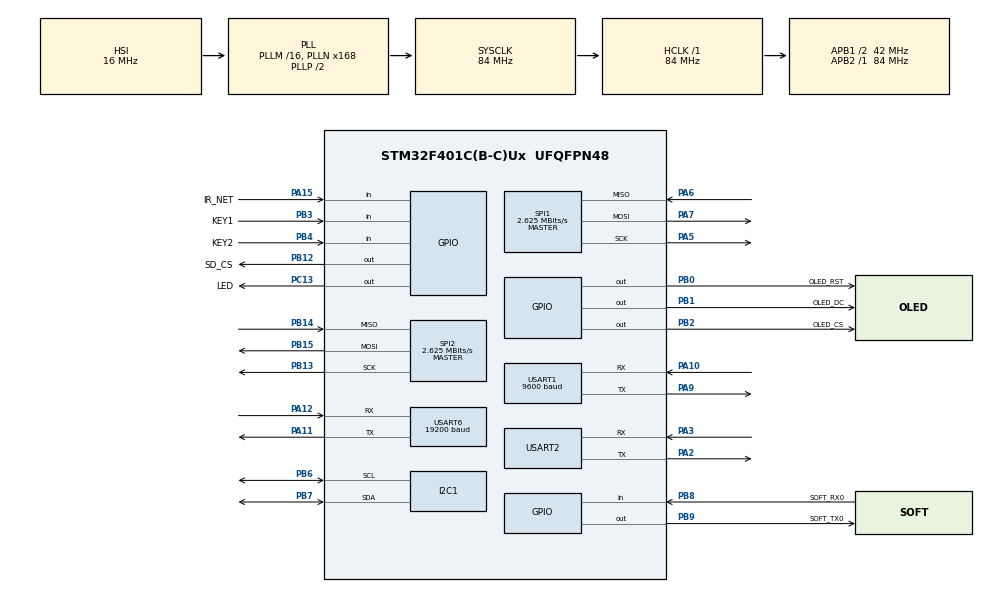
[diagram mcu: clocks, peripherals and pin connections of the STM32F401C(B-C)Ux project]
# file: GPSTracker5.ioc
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FATFS._MAX_SS=512
FREERTOS.HEAP_NUMBER=3
FREERTOS.MEMORY_ALLOCATION=0
FREERTOS.Tasks01=mainTask,-2,128,Main_TaskHandler,Default,NULL,Dynamic,NULL,NULL;displayTask,2,512,Display_TaskHandler,As external,NULL,Dynamic,NULL,NULL;sdTask,2,1024,SD_TaskHandler,As external,NULL,Dynamic,NULL,NULL;gpsTask,0,512,GPS_TaskHandler,As external,NULL,Dynamic,NULL,NULL;lteTask,0,1024,LTE_TaskHandler,As external,NULL,Dynamic,NULL,NULL;iridiumTask,0,1024,Iridium_TaskHandler,As external,NULL,Dynamic,NULL,NULL;keyTask,-2,512,Key_TaskHandler,As external,NULL,Dynamic,NULL,NULL;sensorTask,-2,512,Sensor_TaskHandler,As external,NULL,Dynamic,NULL,NULL
FREERTOS.configTOTAL_HEAP_SIZE=25600
FREERTOS.configUSE_NEWLIB_REENTRANT=1
IWDG.Prescaler=IWDG_PRESCALER_64
Mcu.Family=STM32F4
Mcu.Name=STM32F401C(B-C)Ux
Mcu.Package=UFQFPN48
NVIC.PriorityGroup=NVIC_PRIORITYGROUP_4
NVIC.TIM1_UP_TIM10_IRQn=true\:15\:0\:false\:false\:true\:false\:false\:true\:true
NVIC.TIM2_IRQn=true\:5\:0\:false\:false\:true\:false\:true\:true\:true
NVIC.TimeBase=TIM1_UP_TIM10_IRQn
NVIC.TimeBaseIP=TIM1
NVIC.USART1_IRQn=true\:5\:0\:false\:false\:true\:true\:true\:true\:true
NVIC.USART2_IRQn=true\:5\:0\:false\:false\:true\:true\:true\:true\:true
NVIC.USART6_IRQn=true\:5\:0\:false\:false\:true\:true\:true\:true\:true
PA10.Mode=Asynchronous
PA10.Signal=USART1_RX
PA11.Mode=Asynchronous
PA11.Signal=USART6_TX
PA12.Mode=Asynchronous
PA12.Signal=USART6_RX
PA13.Mode=Serial_Wire
PA13.Signal=SYS_JTMS-SWDIO
PA14.Mode=Serial_Wire
PA14.Signal=SYS_JTCK-SWCLK
PA15.GPIO_Label=IR_NET
PA15.Signal=GPIO_Input
PA2.Mode=Asynchronous
PA2.Signal=USART2_TX
PA3.Mode=Asynchronous
PA3.Signal=USART2_RX
PA5.Mode=Full_Duplex_Master
PA5.Signal=SPI1_SCK
PA6.Mode=Full_Duplex_Master
PA6.Signal=SPI1_MISO
PA7.Mode=Full_Duplex_Master
PA7.Signal=SPI1_MOSI
PA9.Mode=Asynchronous
PA9.Signal=USART1_TX
PB0.GPIO_Label=OLED_RST
PB0.Signal=GPIO_Output
PB1.GPIO_Label=OLED_DC
PB1.Signal=GPIO_Output
PB12.GPIO_Label=SD_CS
PB12.Signal=GPIO_Output
PB13.Mode=Full_Duplex_Master
PB13.Signal=SPI2_SCK
PB14.Mode=Full_Duplex_Master
PB14.Signal=SPI2_MISO
PB15.Mode=Full_Duplex_Master
PB15.Signal=SPI2_MOSI
PB2.GPIO_Label=OLED_CS
PB2.Signal=GPIO_Output
PB3.GPIO_Label=KEY1
PB3.Signal=GPIO_Input
PB4.GPIO_Label=KEY2
PB4.Signal=GPIO_Input
PB6.Mode=I2C
PB6.Signal=I2C1_SCL
PB7.Mode=I2C
PB7.Signal=I2C1_SDA
PB8.GPIO_Label=SOFT_RX0
PB8.Signal=GPIO_Input
PB9.GPIO_Label=SOFT_TX0
PB9.Signal=GPIO_Output
PC13-ANTI_TAMP.GPIO_Label=LED
PC13-ANTI_TAMP.Signal=GPIO_Output
PC14-OSC32_IN.Mode=LSE-External-Oscillator
PC14-OSC32_IN.Signal=RCC_OSC32_IN
PC15-OSC32_OUT.Mode=LSE-External-Oscillator
PC15-OSC32_OUT.Signal=RCC_OSC32_OUT
PH0\ -\ OSC_IN.Mode=HSE-External-Oscillator
PH0\ -\ OSC_IN.Signal=RCC_OSC_IN
PH1\ -\ OSC_OUT.Mode=HSE-External-Oscillator
PH1\ -\ OSC_OUT.Signal=RCC_OSC_OUT
ProjectManager.HeapSize=0x200
ProjectManager.StackSize=0x400
ProjectManager.TargetToolchain=STM32CubeIDE
RCC.48MHZClocksFreq_Value=42000000
RCC.AHBFreq_Value=84000000
RCC.APB1CLKDivider=RCC_HCLK_DIV2
RCC.APB1Freq_Value=42000000
RCC.APB1TimFreq_Value=84000000
RCC.APB2Freq_Value=84000000
RCC.APB2TimFreq_Value=84000000
RCC.CortexFreq_Value=84000000
RCC.HCLKFreq_Value=84000000
RCC.HSE_VALUE=25000000
RCC.HSI_VALUE=16000000
RCC.PLLN=168
RCC.SYSCLKFreq_VALUE=84000000
RCC.SYSCLKSource=RCC_SYSCLKSOURCE_PLLCLK
RCC.VCOOutputFreq_Value=168000000
SPI1.BaudRatePrescaler=SPI_BAUDRATEPRESCALER_32
SPI1.CalculateBaudRate=2.625 MBits/s
SPI1.Direction=SPI_DIRECTION_2LINES
SPI1.Mode=SPI_MODE_MASTER
SPI1.VirtualType=VM_MASTER
SPI2.BaudRatePrescaler=SPI_BAUDRATEPRESCALER_16
SPI2.CalculateBaudRate=2.625 MBits/s
SPI2.Direction=SPI_DIRECTION_2LINES
SPI2.Mode=SPI_MODE_MASTER
SPI2.VirtualType=VM_MASTER
TIM2.Period=9
TIM2.Prescaler=174
USART1.BaudRate=9600
USART1.VirtualMode=VM_ASYNC
USART2.VirtualMode=VM_ASYNC
USART6.BaudRate=19200
USART6.VirtualMode=VM_ASYNC
VP_FATFS_VS_Generic.Mode=User_defined
VP_FREERTOS_VS_CMSIS_V1.Mode=CMSIS_V1
VP_IWDG_VS_IWDG.Mode=IWDG_Activate
VP_SYS_VS_tim1.Mode=TIM1
VP_TIM2_VS_ClockSourceINT.Mode=Internal
board=custom

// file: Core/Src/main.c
/* USER CODE BEGIN Header */
/**
  ******************************************************************************
  * @file           : main.c
  * @brief          : Main program body
  ******************************************************************************
  * @attention
  *
  * Copyright (c) 2024 STMicroelectronics.
  * All rights reserved.
  *
  * This software is licensed under terms that can be found in the LICENSE file
  * in the root directory of this software component.
  * If no LICENSE file comes with this software, it is provided AS-IS.
  *
  ******************************************************************************
  */
/* USER CODE END Header */
#include "main.h"
#include "cmsis_os.h"
#include "fatfs.h"

/* USER CODE BEGIN Includes */

#include <stdio.h>
#include "debug.h"
#include "softuart.h"
#include "ssd1306.h"
#include "ssd1306_fonts.h"
#include "i2c.h"
#include "display.h"
#include "gps.h"
#include "lte.h"
#include "iridium.h"
#include "report.h"

/* USER CODE END Includes */

I2C_HandleTypeDef hi2c1;

IWDG_HandleTypeDef hiwdg;

SPI_HandleTypeDef hspi1;
SPI_HandleTypeDef hspi2;

TIM_HandleTypeDef htim2;

UART_HandleTypeDef huart1;
UART_HandleTypeDef huart2;
UART_HandleTypeDef huart6;

osThreadId mainTaskHandle;
osThreadId displayTaskHandle;
osThreadId sdTaskHandle;
osThreadId gpsTaskHandle;
osThreadId lteTaskHandle;
osThreadId iridiumTaskHandle;
osThreadId keyTaskHandle;
osThreadId sensorTaskHandle;
/* USER CODE BEGIN PV */
extern QueueHandle_t sdQueue;
extern QueueHandle_t lteQueue;
extern QueueHandle_t iridiumQueue;
int lteCounter = 0;
int iridiumCounter = 3600 - 60 * 15; // 15 minutes to first Iridium beacon
/* USER CODE END PV */

void SystemClock_Config(void);
static void MX_GPIO_Init(void);
static void MX_I2C1_Init(void);
static void MX_SPI1_Init(void);
static void MX_SPI2_Init(void);
static void MX_USART1_UART_Init(void);
static void MX_USART2_UART_Init(void);
static void MX_USART6_UART_Init(void);
static void MX_TIM2_Init(void);
static void MX_IWDG_Init(void);
void Main_TaskHandler(void const * argument);
extern void Display_TaskHandler(void const * argument);
extern void SD_TaskHandler(void const * argument);
extern void GPS_TaskHandler(void const * argument);
extern void LTE_TaskHandler(void const * argument);
extern void Iridium_TaskHandler(void const * argument);
extern void Key_TaskHandler(void const * argument);
extern void Sensor_TaskHandler(void const * argument);

/* USER CODE BEGIN 0 */

/*
 * Override _write to forward stdout to SoftUart0
 */
int _write(int file, char *ptr, int len)
{
	int left = len;
	while (left > 0) {
		if (left > SoftUartTxBufferSize) {
			SoftUartPuts(0, (uint8_t *) ptr, SoftUartTxBufferSize);
			SoftUartWaitUntilTxComplate(0);
			left -= SoftUartTxBufferSize;
		} else {
			SoftUartPuts(0, (uint8_t *) ptr, left);
			SoftUartWaitUntilTxComplate(0);
			left -= left;
		}
	}
	return len;
}

void HAL_UART_TxCpltCallback(UART_HandleTypeDef *huart)
{
	// dummy
}

void HAL_UART_RxCpltCallback(UART_HandleTypeDef *huart)
{
	// GPS
	if (huart->Instance == USART1) {
		GPS_UART_Callback();
	}

	// LTE
	if (huart->Instance == USART2) {
		LTE_UART_Callback();
	}

	// IRIDIUM
	if (huart->Instance == USART6) {
		Iridium_UART_Callback();
	}
}

/* USER CODE END 0 */

int main(void)
{

  /* MCU Configuration--------------------------------------------------------*/

  /* Reset of all peripherals, Initializes the Flash interface and the Systick. */
  HAL_Init();

  /* Configure the system clock */
  SystemClock_Config();

  /* Initialize all configured peripherals */
  MX_GPIO_Init();
  MX_I2C1_Init();
  MX_SPI1_Init();
  MX_SPI2_Init();
  MX_USART1_UART_Init();
  MX_USART2_UART_Init();
  MX_USART6_UART_Init();
  MX_FATFS_Init();
  MX_TIM2_Init();
  MX_IWDG_Init();
  /* USER CODE BEGIN 2 */

  // Enable SoftUart0
  HAL_TIM_Base_Start_IT(&htim2);
  SoftUartInit(0, SOFT_TX0_GPIO_Port, SOFT_TX0_Pin, SOFT_RX0_GPIO_Port, SOFT_RX0_Pin);
  SoftUartPuts(0, (uint8_t *) "                ", 16);
  SoftUartPuts(0, (uint8_t *) "\r\n\r\n\r\n\r\n", 8);
  SoftUartWaitUntilTxComplate(0);

  // Init display
  Display_Init();
  Display_RenderBootScreen();

  // Hello
  HAL_Delay(100);
  _DEBUG("GPS Tracker v5");

  // Scan devices
  I2C_Scan(hi2c1);

  /* USER CODE END 2 */

  /* USER CODE BEGIN RTOS_QUEUES */
  sdQueue = xQueueCreate(10, sizeof (Report_t));
  lteQueue = xQueueCreate(500, sizeof (Report_t));
  iridiumQueue = xQueueCreate(24, sizeof (Report_t));
  /* USER CODE END RTOS_QUEUES */

  /* Create the thread(s) */
  /* definition and creation of mainTask */
  osThreadDef(mainTask, Main_TaskHandler, osPriorityLow, 0, 128);
  mainTaskHandle = osThreadCreate(osThread(mainTask), NULL);

  /* definition and creation of displayTask */
  osThreadDef(displayTask, Display_TaskHandler, osPriorityHigh, 0, 512);
  displayTaskHandle = osThreadCreate(osThread(displayTask), NULL);

  /* definition and creation of sdTask */
  osThreadDef(sdTask, SD_TaskHandler, osPriorityHigh, 0, 1024);
  sdTaskHandle = osThreadCreate(osThread(sdTask), NULL);

  /* definition and creation of gpsTask */
  osThreadDef(gpsTask, GPS_TaskHandler, osPriorityNormal, 0, 512);
  gpsTaskHandle = osThreadCreate(osThread(gpsTask), NULL);

  /* definition and creation of lteTask */
  osThreadDef(lteTask, LTE_TaskHandler, osPriorityNormal, 0, 1024);
  lteTaskHandle = osThreadCreate(osThread(lteTask), NULL);

  /* definition and creation of iridiumTask */
  osThreadDef(iridiumTask, Iridium_TaskHandler, osPriorityNormal, 0, 1024);
  iridiumTaskHandle = osThreadCreate(osThread(iridiumTask), NULL);

  /* definition and creation of keyTask */
  osThreadDef(keyTask, Key_TaskHandler, osPriorityLow, 0, 512);
  keyTaskHandle = osThreadCreate(osThread(keyTask), NULL);

  /* definition and creation of sensorTask */
  //osThreadDef(sensorTask, Sensor_TaskHandler, osPriorityLow, 0, 512);
  //sensorTaskHandle = osThreadCreate(osThread(sensorTask), NULL);

  /* Start scheduler */
  osKernelStart();

  /* We should never get here as control is now taken by the scheduler */
  /* Infinite loop */
  while (1)
  {

  }
}

void SystemClock_Config(void)
{
  RCC_OscInitTypeDef RCC_OscInitStruct = {0};
  RCC_ClkInitTypeDef RCC_ClkInitStruct = {0};

  /** Configure the main internal regulator output voltage
  */
  __HAL_RCC_PWR_CLK_ENABLE();
  __HAL_PWR_VOLTAGESCALING_CONFIG(PWR_REGULATOR_VOLTAGE_SCALE2);

  /** Initializes the RCC Oscillators according to the specified parameters
  * in the RCC_OscInitTypeDef structure.
  */
  RCC_OscInitStruct.OscillatorType = RCC_OSCILLATORTYPE_HSI|RCC_OSCILLATORTYPE_LSI;
  RCC_OscInitStruct.HSIState = RCC_HSI_ON;
  RCC_OscInitStruct.HSICalibrationValue = RCC_HSICALIBRATION_DEFAULT;
  RCC_OscInitStruct.LSIState = RCC_LSI_ON;
  RCC_OscInitStruct.PLL.PLLState = RCC_PLL_ON;
  RCC_OscInitStruct.PLL.PLLSource = RCC_PLLSOURCE_HSI;
  RCC_OscInitStruct.PLL.PLLM = 16;
  RCC_OscInitStruct.PLL.PLLN = 168;
  RCC_OscInitStruct.PLL.PLLP = RCC_PLLP_DIV2;
  RCC_OscInitStruct.PLL.PLLQ = 4;
  if (HAL_RCC_OscConfig(&RCC_OscInitStruct) != HAL_OK)
  {
    Error_Handler();
  }

  /** Initializes the CPU, AHB and APB buses clocks
  */
  RCC_ClkInitStruct.ClockType = RCC_CLOCKTYPE_HCLK|RCC_CLOCKTYPE_SYSCLK
                              |RCC_CLOCKTYPE_PCLK1|RCC_CLOCKTYPE_PCLK2;
  RCC_ClkInitStruct.SYSCLKSource = RCC_SYSCLKSOURCE_PLLCLK;
  RCC_ClkInitStruct.AHBCLKDivider = RCC_SYSCLK_DIV1;
  RCC_ClkInitStruct.APB1CLKDivider = RCC_HCLK_DIV2;
  RCC_ClkInitStruct.APB2CLKDivider = RCC_HCLK_DIV1;

  if (HAL_RCC_ClockConfig(&RCC_ClkInitStruct, FLASH_LATENCY_2) != HAL_OK)
  {
    Error_Handler();
  }
}

static void MX_I2C1_Init(void)
{

  hi2c1.Instance = I2C1;
  hi2c1.Init.ClockSpeed = 100000;
  hi2c1.Init.DutyCycle = I2C_DUTYCYCLE_2;
  hi2c1.Init.OwnAddress1 = 0;
  hi2c1.Init.AddressingMode = I2C_ADDRESSINGMODE_7BIT;
  hi2c1.Init.DualAddressMode = I2C_DUALADDRESS_DISABLE;
  hi2c1.Init.OwnAddress2 = 0;
  hi2c1.Init.GeneralCallMode = I2C_GENERALCALL_DISABLE;
  hi2c1.Init.NoStretchMode = I2C_NOSTRETCH_DISABLE;
  if (HAL_I2C_Init(&hi2c1) != HAL_OK)
  {
    Error_Handler();
  }

}

static void MX_IWDG_Init(void)
{

  hiwdg.Instance = IWDG;
  hiwdg.Init.Prescaler = IWDG_PRESCALER_64;
  hiwdg.Init.Reload = 4095;
  if (HAL_IWDG_Init(&hiwdg) != HAL_OK)
  {
    Error_Handler();
  }

}

static void MX_SPI1_Init(void)
{

  /* SPI1 parameter configuration*/
  hspi1.Instance = SPI1;
  hspi1.Init.Mode = SPI_MODE_MASTER;
  hspi1.Init.Direction = SPI_DIRECTION_2LINES;
  hspi1.Init.DataSize = SPI_DATASIZE_8BIT;
  hspi1.Init.CLKPolarity = SPI_POLARITY_LOW;
  hspi1.Init.CLKPhase = SPI_PHASE_1EDGE;
  hspi1.Init.NSS = SPI_NSS_SOFT;
  hspi1.Init.BaudRatePrescaler = SPI_BAUDRATEPRESCALER_32;
  hspi1.Init.FirstBit = SPI_FIRSTBIT_MSB;
  hspi1.Init.TIMode = SPI_TIMODE_DISABLE;
  hspi1.Init.CRCCalculation = SPI_CRCCALCULATION_DISABLE;
  hspi1.Init.CRCPolynomial = 10;
  if (HAL_SPI_Init(&hspi1) != HAL_OK)
  {
    Error_Handler();
  }

}

static void MX_SPI2_Init(void)
{

  /* SPI2 parameter configuration*/
  hspi2.Instance = SPI2;
  hspi2.Init.Mode = SPI_MODE_MASTER;
  hspi2.Init.Direction = SPI_DIRECTION_2LINES;
  hspi2.Init.DataSize = SPI_DATASIZE_8BIT;
  hspi2.Init.CLKPolarity = SPI_POLARITY_LOW;
  hspi2.Init.CLKPhase = SPI_PHASE_1EDGE;
  hspi2.Init.NSS = SPI_NSS_SOFT;
  hspi2.Init.BaudRatePrescaler = SPI_BAUDRATEPRESCALER_16;
  hspi2.Init.FirstBit = SPI_FIRSTBIT_MSB;
  hspi2.Init.TIMode = SPI_TIMODE_DISABLE;
  hspi2.Init.CRCCalculation = SPI_CRCCALCULATION_DISABLE;
  hspi2.Init.CRCPolynomial = 10;
  if (HAL_SPI_Init(&hspi2) != HAL_OK)
  {
    Error_Handler();
  }

}

static void MX_TIM2_Init(void)
{

  TIM_ClockConfigTypeDef sClockSourceConfig = {0};
  TIM_MasterConfigTypeDef sMasterConfig = {0};

  htim2.Instance = TIM2;
  htim2.Init.Prescaler = 174;
  htim2.Init.CounterMode = TIM_COUNTERMODE_UP;
  htim2.Init.Period = 9;
  htim2.Init.ClockDivision = TIM_CLOCKDIVISION_DIV1;
  htim2.Init.AutoReloadPreload = TIM_AUTORELOAD_PRELOAD_DISABLE;
  if (HAL_TIM_Base_Init(&htim2) != HAL_OK)
  {
    Error_Handler();
  }
  sClockSourceConfig.ClockSource = TIM_CLOCKSOURCE_INTERNAL;
  if (HAL_TIM_ConfigClockSource(&htim2, &sClockSourceConfig) != HAL_OK)
  {
    Error_Handler();
  }
  sMasterConfig.MasterOutputTrigger = TIM_TRGO_RESET;
  sMasterConfig.MasterSlaveMode = TIM_MASTERSLAVEMODE_DISABLE;
  if (HAL_TIMEx_MasterConfigSynchronization(&htim2, &sMasterConfig) != HAL_OK)
  {
    Error_Handler();
  }

}

static void MX_USART1_UART_Init(void)
{

  huart1.Instance = USART1;
  huart1.Init.BaudRate = 9600;
  huart1.Init.WordLength = UART_WORDLENGTH_8B;
  huart1.Init.StopBits = UART_STOPBITS_1;
  huart1.Init.Parity = UART_PARITY_NONE;
  huart1.Init.Mode = UART_MODE_TX_RX;
  huart1.Init.HwFlowCtl = UART_HWCONTROL_NONE;
  huart1.Init.OverSampling = UART_OVERSAMPLING_16;
  if (HAL_UART_Init(&huart1) != HAL_OK)
  {
    Error_Handler();
  }

}

static void MX_USART2_UART_Init(void)
{

  huart2.Instance = USART2;
  huart2.Init.BaudRate = 115200;
  huart2.Init.WordLength = UART_WORDLENGTH_8B;
  huart2.Init.StopBits = UART_STOPBITS_1;
  huart2.Init.Parity = UART_PARITY_NONE;
  huart2.Init.Mode = UART_MODE_TX_RX;
  huart2.Init.HwFlowCtl = UART_HWCONTROL_NONE;
  huart2.Init.OverSampling = UART_OVERSAMPLING_16;
  if (HAL_UART_Init(&huart2) != HAL_OK)
  {
    Error_Handler();
  }

}

static void MX_USART6_UART_Init(void)
{

  huart6.Instance = USART6;
  huart6.Init.BaudRate = 19200;
  huart6.Init.WordLength = UART_WORDLENGTH_8B;
  huart6.Init.StopBits = UART_STOPBITS_1;
  huart6.Init.Parity = UART_PARITY_NONE;
  huart6.Init.Mode = UART_MODE_TX_RX;
  huart6.Init.HwFlowCtl = UART_HWCONTROL_NONE;
  huart6.Init.OverSampling = UART_OVERSAMPLING_16;
  if (HAL_UART_Init(&huart6) != HAL_OK)
  {
    Error_Handler();
  }

}

static void MX_GPIO_Init(void)
{
  GPIO_InitTypeDef GPIO_InitStruct = {0};

  /* GPIO Ports Clock Enable */
  __HAL_RCC_GPIOC_CLK_ENABLE();
  __HAL_RCC_GPIOH_CLK_ENABLE();
  __HAL_RCC_GPIOA_CLK_ENABLE();
  __HAL_RCC_GPIOB_CLK_ENABLE();

  /*Configure GPIO pin Output Level */
  HAL_GPIO_WritePin(LED_GPIO_Port, LED_Pin, GPIO_PIN_RESET);

  /*Configure GPIO pin Output Level */
  HAL_GPIO_WritePin(GPIOB, OLED_RST_Pin|OLED_DC_Pin|OLED_CS_Pin|SD_CS_Pin
                          |SOFT_TX0_Pin, GPIO_PIN_RESET);

  /*Configure GPIO pin : LED_Pin */
  GPIO_InitStruct.Pin = LED_Pin;
  GPIO_InitStruct.Mode = GPIO_MODE_OUTPUT_PP;
  GPIO_InitStruct.Pull = GPIO_NOPULL;
  GPIO_InitStruct.Speed = GPIO_SPEED_FREQ_LOW;
  HAL_GPIO_Init(LED_GPIO_Port, &GPIO_InitStruct);

  /*Configure GPIO pins : OLED_RST_Pin OLED_DC_Pin OLED_CS_Pin SD_CS_Pin
                           SOFT_TX0_Pin */
  GPIO_InitStruct.Pin = OLED_RST_Pin|OLED_DC_Pin|OLED_CS_Pin|SD_CS_Pin
                          |SOFT_TX0_Pin;
  GPIO_InitStruct.Mode = GPIO_MODE_OUTPUT_PP;
  GPIO_InitStruct.Pull = GPIO_NOPULL;
  GPIO_InitStruct.Speed = GPIO_SPEED_FREQ_LOW;
  HAL_GPIO_Init(GPIOB, &GPIO_InitStruct);

  /*Configure GPIO pin : IR_NET_Pin */
  GPIO_InitStruct.Pin = IR_NET_Pin;
  GPIO_InitStruct.Mode = GPIO_MODE_INPUT;
  GPIO_InitStruct.Pull = GPIO_NOPULL;
  HAL_GPIO_Init(IR_NET_GPIO_Port, &GPIO_InitStruct);

  /*Configure GPIO pins : KEY1_Pin KEY2_Pin SOFT_RX0_Pin */
  GPIO_InitStruct.Pin = KEY1_Pin|KEY2_Pin|SOFT_RX0_Pin;
  GPIO_InitStruct.Mode = GPIO_MODE_INPUT;
  GPIO_InitStruct.Pull = GPIO_NOPULL;
  HAL_GPIO_Init(GPIOB, &GPIO_InitStruct);

}

void Main_TaskHandler(void const * argument)
{
  /* USER CODE BEGIN 5 */
  /* Infinite loop */

  Report_t report, reportDump;
  char buf[24];
  int reportStatus;

  for(;;)
  {
	// Blink LED
	HAL_GPIO_WritePin(LED_GPIO_Port, LED_Pin, GPIO_PIN_RESET);
    osDelay(200);
	HAL_GPIO_WritePin(LED_GPIO_Port, LED_Pin, GPIO_PIN_SET);
    osDelay(800);

    lteCounter++;
    iridiumCounter++;

    // Prepare report
    reportStatus = PrepareReport(&report);

    // Send report to SD card
    if (reportStatus == REPORT_OK) {
    	xQueueSend(sdQueue, &report, 10);

    	if (lteCounter > 10) {
    		lteCounter = 0;

        	// If full take the last element
        	if (uxQueueSpacesAvailable(lteQueue) == 0) {
        		xQueueReceive(lteQueue, &reportDump, 10);
        	}

        	xQueueSend(lteQueue, &report, 0);
    	}

    	if (iridiumCounter > 3600) {
    		iridiumCounter = 0;

        	// If full take the last element
        	if (uxQueueSpacesAvailable(iridiumQueue) == 0) {
        		xQueueReceive(iridiumQueue, &reportDump, 10);
    			_DEBUG("Iridium messages waiting: %d", uxQueueMessagesWaiting(iridiumQueue));
        	}

        	// Add current report
    		xQueueSend(iridiumQueue, &report, 0);
    	}
    }

    // Status update
    if (!Display_StatusIsLocked()) {
		if (lastReportSendTime > 0) {
			PrintfLock();
			snprintf(buf, 24, "Report sent %ds ago", (HAL_GetTick() - lastReportSendTime) / 1000);
			PrintfUnlock();

			Display_SetStatus(buf);
		} else {
			Display_SetStatus("Report not sent yet");
		}
    }

    // Reset Watchdog
    HAL_IWDG_Refresh(&hiwdg);
  }
  /* USER CODE END 5 */
}

void HAL_TIM_PeriodElapsedCallback(TIM_HandleTypeDef *htim)
{
  if (htim->Instance == TIM1) {
    HAL_IncTick();
  }
  /* USER CODE BEGIN Callback 1 */

  if (htim->Instance == TIM2) {
	  SoftUartHandler();
  }

  /* USER CODE END Callback 1 */
}

void Error_Handler(void)
{
  __disable_irq();
  while (1)
  {
  }
}
